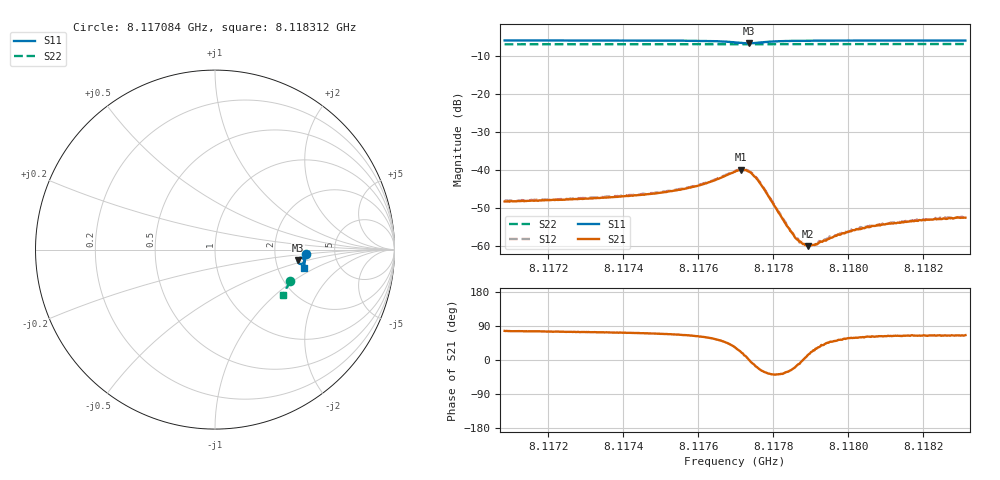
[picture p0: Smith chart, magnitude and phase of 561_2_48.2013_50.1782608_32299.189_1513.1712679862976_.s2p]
#  HZ  S  RI  R  50.00
! Rohde & Schwarz Vector Network Analyzer
! Rohde-Schwarz,ZNB20-2Port,1311601062101988,3.16
! Created: UTC 3/20/2024, 12:01:11 PM
! freq[Hz]  re:S11  im:S11  re:S21  im:S21  re:S12  im:S12  re:S22  im:S22
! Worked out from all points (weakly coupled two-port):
!   401 points, 8.117084 GHz to 8.118312 GHz, reference 50 ohm
!   highest |S21| = -39.82 dB at 8.117714 GHz (marker M1); lowest = -60.0 dB at 8.117892 GHz (marker M2)
!   lowest |S11| = -6.7 dB at 8.117735 GHz (marker M3), VSWR 2.73, Z = 133 - j20.2 ohm
!   |S11| at or under -10 dB: nowhere
!   |S22| runs from -6.9 to -6.8 dB; largest |S21 - S12| = 0.00036
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8.1170842e9  0.5064 -0.0218  0.000887 0.00378  0.00102 0.00388  0.4166 -0.1741
8.1172899e9  0.5048 -0.0386  0.00116 0.00404  0.0012 0.00412  0.4115 -0.1875
8.1174956e9  0.5015 -0.0574  0.00177 0.00473  0.00183 0.00482  0.4057 -0.2008
8.117557e9  0.4992 -0.0642  0.00227 0.00515  0.00235 0.00522  0.4037 -0.2048
8.1176062e9  0.4957 -0.0706  0.00303 0.00565  0.00311 0.00579  0.4023 -0.208
8.117643e9  0.4906 -0.0761  0.00413 0.00605  0.00427 0.00618  0.4009 -0.2104
8.1176983e9  0.4719 -0.0795  0.00798 0.00526  0.0082 0.00539  0.3983 -0.2136
8.1177136e9  0.4643 -0.0742  0.00949 0.00377  0.00959 0.00378  0.3979 -0.2142
8.1177351e9  0.4605 -0.0595  0.0096 6.97e-05  0.00981 7.95e-05  0.3973 -0.2149
8.1177504e9  0.4659 -0.0497  0.00802 -0.00189  0.00826 -0.00217  0.397 -0.2154
8.1177627e9  0.4729 -0.0457  0.0064 -0.00282  0.00658 -0.0029  0.3971 -0.216
8.1178426e9  0.4963 -0.057  0.00149 -0.000836  0.00151 -0.000844  0.3956 -0.2215
8.1178579e9  0.4973 -0.0598  0.00124 -0.000444  0.00127 -0.000473  0.3951 -0.2226
8.1178733e9  0.4981 -0.0622  0.00113 -0.000122  0.00114 -0.000161  0.3947 -0.2236
8.1178917e9  0.4986 -0.0652  0.000982 0.000216  0.00103 0.000216  0.394 -0.2248
8.117904e9  0.4989 -0.0668  0.000964 0.000397  0.000991 0.000445  0.3936 -0.2257
8.1179193e9  0.499 -0.0688  0.00091 0.000598  0.000915 0.000618  0.3933 -0.2265
8.1179684e9  0.4991 -0.0747  0.000872 0.00107  0.000883 0.00107  0.3915 -0.2297
8.1180145e9  0.4989 -0.0793  0.000852 0.00139  0.000809 0.00143  0.39 -0.2325
8.1181096e9  0.4978 -0.0882  0.000904 0.00179  0.000917 0.00178  0.3868 -0.2385
8.1182509e9  0.4958 -0.0999  0.00098 0.00207  0.00098 0.00212  0.3819 -0.2473
8.1183123e9  0.4947 -0.1048  0.000987 0.00217  0.0011 0.0022  0.3797 -0.2508
